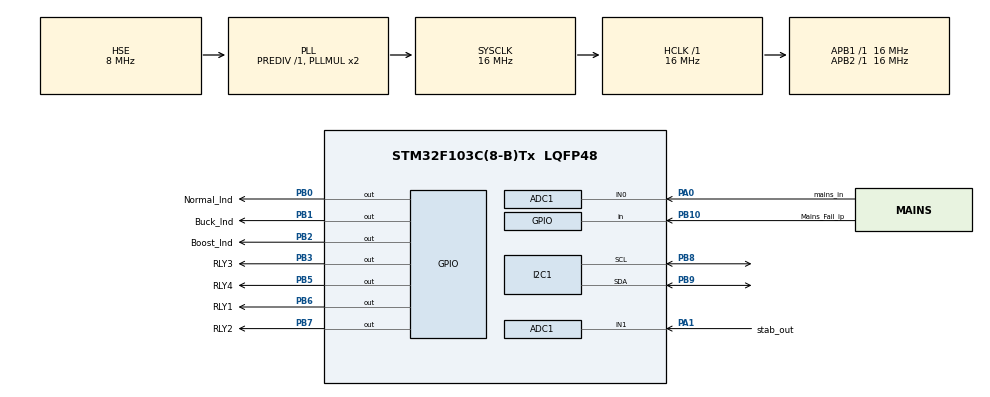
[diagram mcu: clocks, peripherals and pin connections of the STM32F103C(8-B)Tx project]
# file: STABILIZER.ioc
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ADC1.Channel-0\#ChannelRegularConversion=ADC_CHANNEL_0
ADC1.Channel-1\#ChannelRegularConversion=ADC_CHANNEL_1
ADC1.ContinuousConvMode=ENABLE
ADC1.InjNumberOfConversion=0
ADC1.NbrOfConversion=2
ADC1.NbrOfConversionFlag=1
ADC1.Rank-0\#ChannelRegularConversion=1
ADC1.Rank-1\#ChannelRegularConversion=2
ADC1.SamplingTime-0\#ChannelRegularConversion=ADC_SAMPLETIME_239CYCLES_5
ADC1.SamplingTime-1\#ChannelRegularConversion=ADC_SAMPLETIME_239CYCLES_5
ADC1.master=1
Dma.ADC1.0.Direction=DMA_PERIPH_TO_MEMORY
Dma.ADC1.0.Instance=DMA1_Channel1
Dma.ADC1.0.MemDataAlignment=DMA_MDATAALIGN_WORD
Dma.ADC1.0.MemInc=DMA_MINC_ENABLE
Dma.ADC1.0.Mode=DMA_CIRCULAR
Dma.ADC1.0.PeriphDataAlignment=DMA_PDATAALIGN_WORD
Dma.ADC1.0.PeriphInc=DMA_PINC_DISABLE
Dma.ADC1.0.Priority=DMA_PRIORITY_HIGH
Dma.Request0=ADC1
I2C1.I2C_Mode=I2C_Fast
Mcu.Family=STM32F1
Mcu.Name=STM32F103C(8-B)Tx
Mcu.Package=LQFP48
NVIC.DMA1_Channel1_IRQn=true\:0\:0\:false\:false\:true\:false\:true
NVIC.PriorityGroup=NVIC_PRIORITYGROUP_4
NVIC.TIM1_UP_IRQn=true\:0\:0\:false\:false\:true\:true\:true
PA0-WKUP.GPIO_Label=mains_in
PA0-WKUP.Signal=ADCx_IN0
PA1.GPIO_Label=stab_out
PA1.Signal=ADCx_IN1
PA13.Mode=Serial_Wire
PA13.Signal=SYS_JTMS-SWDIO
PA14.Mode=Serial_Wire
PA14.Signal=SYS_JTCK-SWCLK
PB0.GPIO_Label=Normal_Ind
PB0.Signal=GPIO_Output
PB1.GPIO_Label=Buck_Ind
PB1.Signal=GPIO_Output
PB10.GPIO_Label=Mains_Fail_ip
PB10.Signal=GPIO_Input
PB2.GPIO_Label=Boost_Ind
PB2.Signal=GPIO_Output
PB3.GPIO_Label=RLY3
PB3.Signal=GPIO_Output
PB5.GPIO_Label=RLY4
PB5.Signal=GPIO_Output
PB6.GPIO_Label=RLY1
PB6.Signal=GPIO_Output
PB7.GPIO_Label=RLY2
PB7.Signal=GPIO_Output
PB8.Mode=I2C
PB8.Signal=I2C1_SCL
PB9.Mode=I2C
PB9.Signal=I2C1_SDA
PC14-OSC32_IN.Mode=LSE-External-Oscillator
PC14-OSC32_IN.Signal=RCC_OSC32_IN
PC15-OSC32_OUT.Mode=LSE-External-Oscillator
PC15-OSC32_OUT.Signal=RCC_OSC32_OUT
PD0-OSC_IN.Mode=HSE-External-Oscillator
PD0-OSC_IN.Signal=RCC_OSC_IN
PD1-OSC_OUT.Mode=HSE-External-Oscillator
PD1-OSC_OUT.Signal=RCC_OSC_OUT
ProjectManager.HeapSize=0x200
ProjectManager.StackSize=0x400
ProjectManager.TargetToolchain=MDK-ARM V5
RCC.AHBFreq_Value=16000000
RCC.APB1Freq_Value=16000000
RCC.APB1TimFreq_Value=16000000
RCC.APB2Freq_Value=16000000
RCC.APB2TimFreq_Value=16000000
RCC.HCLKFreq_Value=16000000
RCC.PLLSourceVirtual=RCC_PLLSOURCE_HSE
RCC.SYSCLKFreq_VALUE=16000000
RCC.SYSCLKSource=RCC_SYSCLKSOURCE_PLLCLK
RCC.USBFreq_Value=16000000
SH.ADCx_IN0.0=ADC1_IN0,IN0
SH.ADCx_IN1.0=ADC1_IN1,IN1
TIM1.AutoReloadPreload=TIM_AUTORELOAD_PRELOAD_ENABLE
TIM1.Period=18000
TIM1.Prescaler=2
VP_TIM1_VS_ClockSourceINT.Mode=Internal
board=custom

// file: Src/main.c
/* USER CODE BEGIN Header */
/**
  ******************************************************************************
  * @file           : main.c
  * @brief          : Main program body
  ******************************************************************************
  * @attention
  *
  * <h2><center>&copy; Copyright (c) 2020 STMicroelectronics.
  * All rights reserved.</center></h2>
  *
  * This software component is licensed by ST under BSD 3-Clause license,
  * the "License"; You may not use this file except in compliance with the
  * License. You may obtain a copy of the License at:
  *                        opensource.org/licenses/BSD-3-Clause
  *
  ******************************************************************************
  */
/* USER CODE END Header */

#include "main.h"

/* USER CODE BEGIN Includes */
#include "Defines.h"
#include "i2c-lcd.h"
#include "string.h"
/* USER CODE END Includes */

/* USER CODE BEGIN PD */
#define Input_hi_limit1 280
#define Input_hi_limit2 270

#define Input_lo_limit1 170
#define Input_lo_limit2 180

#define RLY1_SET		HAL_GPIO_WritePin(RLY1_GPIO_Port, RLY1_Pin, GPIO_PIN_SET)
#define RLY1_RESET  HAL_GPIO_WritePin(RLY1_GPIO_Port, RLY1_Pin, GPIO_PIN_RESET)

#define RLY2_SET		HAL_GPIO_WritePin(RLY2_GPIO_Port, RLY2_Pin, GPIO_PIN_SET)
#define RLY2_RESET  HAL_GPIO_WritePin(RLY2_GPIO_Port, RLY2_Pin, GPIO_PIN_RESET)

#define RLY3_SET		HAL_GPIO_WritePin(RLY3_GPIO_Port, RLY3_Pin, GPIO_PIN_SET)
#define RLY3_RESET  HAL_GPIO_WritePin(RLY3_GPIO_Port, RLY3_Pin, GPIO_PIN_RESET)

#define RLY4_SET		HAL_GPIO_WritePin(RLY4_GPIO_Port, RLY4_Pin, GPIO_PIN_SET)
#define RLY4_RESET  HAL_GPIO_WritePin(RLY4_GPIO_Port, RLY4_Pin, GPIO_PIN_RESET)

#define Normal_Ind_SET      HAL_GPIO_WritePin(Normal_Ind_GPIO_Port, Normal_Ind_Pin, GPIO_PIN_SET)
#define Normal_Ind_RESET    HAL_GPIO_WritePin(Normal_Ind_GPIO_Port, Normal_Ind_Pin, GPIO_PIN_RESET)

#define Buck_Ind_SET        HAL_GPIO_WritePin(Buck_Ind_GPIO_Port, Buck_Ind_Pin, GPIO_PIN_SET)
#define Buck_Ind_RESET      HAL_GPIO_WritePin(Buck_Ind_GPIO_Port, Buck_Ind_Pin, GPIO_PIN_RESET)

#define Boost_Ind_SET       HAL_GPIO_WritePin(Boost_Ind_GPIO_Port, Boost_Ind_Pin, GPIO_PIN_SET)
#define Boost_Ind_RESET     HAL_GPIO_WritePin(Boost_Ind_GPIO_Port, Boost_Ind_Pin, GPIO_PIN_RESET)

/* USER CODE END PD */

ADC_HandleTypeDef hadc1;
DMA_HandleTypeDef hdma_adc1;

I2C_HandleTypeDef hi2c1;

TIM_HandleTypeDef htim1;

/* USER CODE BEGIN PV */
flags flg;
mains_status mainsstatus;
uint8_t ms_2_cnt, two_ms_count, ten_ms_cnt, fifty_ms_count, hundred_ms_count,sec_count,min_count,hr_count;
uint16_t mains_input,stab_output;
uint8_t mains_dly_cnt, mains_dly_on_cnt;
uint8_t intr_count, fast_mains_ok_cnt;
uint8_t Avr_normal_dly_cnt,Avr_buck_dly_cnt,Avr_boost_dly_cnt,RLY3_off_delay,Avr_normal_1_dly_cnt;
char Temp_bufr[6];
uint8_t four_digit,ind;
uint32_t ADC_BUFR[2];
uint32_t UPS_REC[2];
char DataBuffer[21];
char temp_b1[6];
char temp_b2[6];
uint8_t scale[16]={3,4,1,1,1,1,1,1,1,1,1,1,1,1,1};
/* USER CODE END PV */

void SystemClock_Config(void);
static void MX_GPIO_Init(void);
static void MX_DMA_Init(void);
static void MX_TIM1_Init(void);
static void MX_ADC1_Init(void);
static void MX_I2C1_Init(void);
/* USER CODE BEGIN PFP */
void check_mains_stages(void);
void check_mains(void);
void check_fast_mains(void);
void revu_analog(void);
void Display_refresh(void);
void ltoa(long num,char *string);
/* USER CODE END PFP */

/* USER CODE BEGIN 0 */
void HAL_ADC_ConvCpltCallback(ADC_HandleTypeDef* hadc)
{
		uint8_t k;
		for(uint8_t chn_num = 0; chn_num < 2; chn_num++)
		{
				//UPS_REC[i] = ADC_BUFR[i];
			k = scale[chn_num];
		if (k)
       UPS_REC[chn_num] = ADC_BUFR[chn_num] >> scale[chn_num];
    else
       UPS_REC[chn_num] = ADC_BUFR[chn_num];
       ADC_BUFR[chn_num] = 0;
		}
		mains_input = UPS_REC[0];
		stab_output = UPS_REC[1];
}
void check_mains_stages(void)
{
		if(boost_flag)
    {
			Boost_Ind_RESET;//ON
			Buck_Ind_SET;
			Normal_Ind_SET;
			RLY2_SET;
			RLY3_SET;
			RLY4_RESET;//ON
    }
		if(Normal_flag)
		{
			Boost_Ind_SET;
			Buck_Ind_SET;
			Normal_Ind_RESET;//ON
			RLY2_SET;
			RLY3_RESET;//ON
			RLY4_SET;
		}
		if(Normal_1_flag)
		{
			Boost_Ind_SET;
			Buck_Ind_SET;
			Normal_Ind_RESET;//ON
			RLY2_RESET;//ON
			RLY3_SET;
			RLY4_SET;
		}
		if (Buck_flag)
		{
			Boost_Ind_SET;
			Buck_Ind_RESET;//ON
			Normal_Ind_RESET;
			RLY2_SET;
			RLY3_SET;
			RLY4_SET;
		}
}
void check_mains(void)
{
		if((mains_input>Input_hi_limit1)||(mains_input<Input_lo_limit1))   //mains fail
    {
			mains_ok_flag = 0;
			mains_dly_cnt++;
			if (mains_dly_cnt > 5)
			{
				mains_dly_cnt = 0;
				RLY1_RESET;
        Mains_Fail1 = 1;
        mains_dly_on_cnt = 0;
			}
		}
		else if((mains_input < Input_hi_limit2)&&(mains_input > Input_lo_limit2))  //mains ok
    {
        mains_ok_flag = 1;
        mains_dly_on_cnt++;
			  if(mains_dly_on_cnt >= 5)
			  {
					mains_dly_on_cnt = 0;
					mains_dly_cnt = 0;
					Mains_Fail  = 0;
					mains_abnormal = 0;
					HAL_Delay(2);
					RLY1_RESET;
       }
		}
		if((!Mains_Fail))
    {
			 if((mains_input > 180) && (mains_input < 200))//180,208
			 {
				 Avr_buck_dly_cnt++;
				 if(Avr_buck_dly_cnt == 5)
				 {
					 Avr_buck_dly_cnt = 0;
					 boost_flag = 0;
					 Normal_flag = 0;
					 Buck_flag = 1;
           Normal_1_flag = 0;
				 }
			 }
			 if((mains_input > 202) && (mains_input < 220))//218,240
			 {
					Avr_normal_dly_cnt++;
					if(Avr_normal_dly_cnt == 5)
					{
             Avr_normal_dly_cnt = 0;
             Normal_flag = 0;
             Buck_flag = 0;
             boost_flag = 0;
             Normal_1_flag = 1;
					}
			 }
			 if((mains_input > 222) && (mains_input < 240))
			 {
				  Avr_normal_1_dly_cnt++;
				  if(Avr_normal_1_dly_cnt == 5)
				  {
             Avr_normal_1_dly_cnt = 0;
             Normal_1_flag = 0;
             Normal_flag = 1;
             Buck_flag = 0;
             boost_flag = 0;
				  }
	     }
			 if((mains_input > 242) &&  (mains_input < 270))//249,270
			 {
	        Avr_boost_dly_cnt++;
	        if(Avr_boost_dly_cnt==5)
	        {
             Avr_boost_dly_cnt=0;
             boost_flag =1;
             Buck_flag =0;
             Normal_flag =0;
             Normal_1_flag =0;
	        }
	     }
		}
		if(Mains_Fail1)
    {
				if(++RLY3_off_delay >= 35)
        {
            Mains_Fail = 1;
            RLY3_off_delay = 0;
            Mains_Fail1 = 0;
        }
    }
}
void check_fast_mains(void)
{
    if(!HAL_GPIO_ReadPin(Mains_Fail_ip_GPIO_Port, Mains_Fail_ip_Pin))
    {
        if(!Main_Fail_ip_Temp_Flag)
                Main_Fail_ip_Temp_Flag=1;
        else
        {
            IPAB = 1;
            fast_mains_fail = 1;
            fast_mains_ok_cnt = 0;
            Main_Fail_ip_Temp_Flag = 0;
        }
    }
    else
    {
         fast_mains_ok_cnt++;
         if(fast_mains_ok_cnt >= 10)
         {
             IPAB = 0;
             fast_mains_fail = 0;
             Main_Fail_ip_Temp_Flag = 0;
         }
    }
}
void revu_analog(void)
{

}
void Display_refresh(void)
{
	lcd_send_cmd (0x80);
	lcd_send_string("Mains i/p  Stab o/p ");
	memset(DataBuffer,' ',20);
	ltoa(mains_input,temp_b1);
	ltoa(stab_output,temp_b2);

	DataBuffer[3] = temp_b1[0];
	DataBuffer[4] = temp_b1[1];
	DataBuffer[5] = temp_b1[2];
	DataBuffer[6] = temp_b1[3];
	DataBuffer[7] = 'V';

	DataBuffer[13] = temp_b1[0];
	DataBuffer[14] = temp_b1[1];
	DataBuffer[15] = temp_b1[2];
	DataBuffer[16] = temp_b1[3];
	DataBuffer[17] = 'V';

	lcd_send_cmd (0xC0);
	lcd_send_string(DataBuffer);

	lcd_send_cmd (0x94);

	lcd_send_cmd (0xD4);

}
void ltoa(long num,char *string)
{
      four_digit = 1;
      ind = 0;

      while(num)
      {
          Temp_bufr[ind++] = ((num%10) + (0x30));
          num=num/10;
      }

      if(ind>=0 && ind<=3)
      {
          if((ind!=3) || (ind==3 && four_digit))
             *string++='0';

          if(ind==0)
          {
           *string++='0';
           *string++='0';

           if(four_digit)
                  *string++='0';

          }
          else if(ind==1)
          {
           *string++='0';

           if(four_digit)
                  *string++='0';
          }
          else if(ind==2)
          {
           if(four_digit)
                  *string++='0';
          }
      }

      while(ind)
	   	 *string++=Temp_bufr[--ind];

      *string=0x0;

}
/* USER CODE END 0 */

int main(void)
{

  /* MCU Configuration--------------------------------------------------------*/

  /* Reset of all peripherals, Initializes the Flash interface and the Systick. */
  HAL_Init();

  /* Configure the system clock */
  SystemClock_Config();

  /* Initialize all configured peripherals */
  MX_GPIO_Init();
  MX_DMA_Init();
  MX_TIM1_Init();
  MX_ADC1_Init();
  MX_I2C1_Init();
  /* USER CODE BEGIN 2 */
	lcd_init ();
	lcd_clear ();
	lcd_send_cmd (0x80);
	lcd_send_string(" Saumya controllers ");
	lcd_send_cmd (0xC0);
	lcd_send_string("   Mb: 9604861056   ");
	if(HAL_TIM_Base_Start_IT(&htim1) != HAL_OK)
	{
		Error_Handler();
	}
	HAL_ADC_Start_DMA(&hadc1, ADC_BUFR, 2);
  /* USER CODE END 2 */

  /* Infinite loop */
  while (1)
  {

    /* USER CODE BEGIN 3 */
			if(ten_ms_flag)
	    {
				 if(++ten_ms_cnt >= 10)
				 {
					  ten_ms_cnt=0;
					  hundred_ms_flag = 1;
				 }
		     ten_ms_flag = 0;
				 revu_analog();
				 //check_mains();
         //check_mains_stages();
	    }
			if(fifty_ms_flag)
			{
				 fifty_ms_flag = 0;
				 hundred_ms_count++;
				 check_mains();
         check_mains_stages();
			}
			if(hundred_ms_flag)
			{
				 if(hundred_ms_count >= 10)
				 {
					 hundred_ms_count = 0;
					 one_sec = 1;
				 }
				 hundred_ms_flag = 0;
			}
			if(one_sec)
			{
				 one_sec = 0;
			}
  }
  /* USER CODE END 3 */
}

void SystemClock_Config(void)
{
  RCC_OscInitTypeDef RCC_OscInitStruct = {0};
  RCC_ClkInitTypeDef RCC_ClkInitStruct = {0};
  RCC_PeriphCLKInitTypeDef PeriphClkInit = {0};

  /** Initializes the CPU, AHB and APB busses clocks
  */
  RCC_OscInitStruct.OscillatorType = RCC_OSCILLATORTYPE_HSE;
  RCC_OscInitStruct.HSEState = RCC_HSE_ON;
  RCC_OscInitStruct.HSEPredivValue = RCC_HSE_PREDIV_DIV1;
  RCC_OscInitStruct.HSIState = RCC_HSI_ON;
  RCC_OscInitStruct.PLL.PLLState = RCC_PLL_ON;
  RCC_OscInitStruct.PLL.PLLSource = RCC_PLLSOURCE_HSE;
  RCC_OscInitStruct.PLL.PLLMUL = RCC_PLL_MUL2;
  if (HAL_RCC_OscConfig(&RCC_OscInitStruct) != HAL_OK)
  {
    Error_Handler();
  }
  /** Initializes the CPU, AHB and APB busses clocks
  */
  RCC_ClkInitStruct.ClockType = RCC_CLOCKTYPE_HCLK|RCC_CLOCKTYPE_SYSCLK
                              |RCC_CLOCKTYPE_PCLK1|RCC_CLOCKTYPE_PCLK2;
  RCC_ClkInitStruct.SYSCLKSource = RCC_SYSCLKSOURCE_PLLCLK;
  RCC_ClkInitStruct.AHBCLKDivider = RCC_SYSCLK_DIV1;
  RCC_ClkInitStruct.APB1CLKDivider = RCC_HCLK_DIV1;
  RCC_ClkInitStruct.APB2CLKDivider = RCC_HCLK_DIV1;

  if (HAL_RCC_ClockConfig(&RCC_ClkInitStruct, FLASH_LATENCY_0) != HAL_OK)
  {
    Error_Handler();
  }
  PeriphClkInit.PeriphClockSelection = RCC_PERIPHCLK_ADC;
  PeriphClkInit.AdcClockSelection = RCC_ADCPCLK2_DIV2;
  if (HAL_RCCEx_PeriphCLKConfig(&PeriphClkInit) != HAL_OK)
  {
    Error_Handler();
  }
}

static void MX_ADC1_Init(void)
{

  ADC_ChannelConfTypeDef sConfig = {0};

  /** Common config
  */
  hadc1.Instance = ADC1;
  hadc1.Init.ScanConvMode = ADC_SCAN_ENABLE;
  hadc1.Init.ContinuousConvMode = ENABLE;
  hadc1.Init.DiscontinuousConvMode = DISABLE;
  hadc1.Init.ExternalTrigConv = ADC_SOFTWARE_START;
  hadc1.Init.DataAlign = ADC_DATAALIGN_RIGHT;
  hadc1.Init.NbrOfConversion = 2;
  if (HAL_ADC_Init(&hadc1) != HAL_OK)
  {
    Error_Handler();
  }
  /** Configure Regular Channel
  */
  sConfig.Channel = ADC_CHANNEL_0;
  sConfig.Rank = ADC_REGULAR_RANK_1;
  sConfig.SamplingTime = ADC_SAMPLETIME_239CYCLES_5;
  if (HAL_ADC_ConfigChannel(&hadc1, &sConfig) != HAL_OK)
  {
    Error_Handler();
  }
  /** Configure Regular Channel
  */
  sConfig.Channel = ADC_CHANNEL_1;
  sConfig.Rank = ADC_REGULAR_RANK_2;
  if (HAL_ADC_ConfigChannel(&hadc1, &sConfig) != HAL_OK)
  {
    Error_Handler();
  }

}

static void MX_I2C1_Init(void)
{

  hi2c1.Instance = I2C1;
  hi2c1.Init.ClockSpeed = 400000;
  hi2c1.Init.DutyCycle = I2C_DUTYCYCLE_2;
  hi2c1.Init.OwnAddress1 = 0;
  hi2c1.Init.AddressingMode = I2C_ADDRESSINGMODE_7BIT;
  hi2c1.Init.DualAddressMode = I2C_DUALADDRESS_DISABLE;
  hi2c1.Init.OwnAddress2 = 0;
  hi2c1.Init.GeneralCallMode = I2C_GENERALCALL_DISABLE;
  hi2c1.Init.NoStretchMode = I2C_NOSTRETCH_DISABLE;
  if (HAL_I2C_Init(&hi2c1) != HAL_OK)
  {
    Error_Handler();
  }

}

static void MX_TIM1_Init(void)
{

  TIM_ClockConfigTypeDef sClockSourceConfig = {0};
  TIM_MasterConfigTypeDef sMasterConfig = {0};

  htim1.Instance = TIM1;
  htim1.Init.Prescaler = 2;
  htim1.Init.CounterMode = TIM_COUNTERMODE_UP;
  htim1.Init.Period = 18000;
  htim1.Init.ClockDivision = TIM_CLOCKDIVISION_DIV1;
  htim1.Init.RepetitionCounter = 0;
  htim1.Init.AutoReloadPreload = TIM_AUTORELOAD_PRELOAD_ENABLE;
  if (HAL_TIM_Base_Init(&htim1) != HAL_OK)
  {
    Error_Handler();
  }
  sClockSourceConfig.ClockSource = TIM_CLOCKSOURCE_INTERNAL;
  if (HAL_TIM_ConfigClockSource(&htim1, &sClockSourceConfig) != HAL_OK)
  {
    Error_Handler();
  }
  sMasterConfig.MasterOutputTrigger = TIM_TRGO_RESET;
  sMasterConfig.MasterSlaveMode = TIM_MASTERSLAVEMODE_DISABLE;
  if (HAL_TIMEx_MasterConfigSynchronization(&htim1, &sMasterConfig) != HAL_OK)
  {
    Error_Handler();
  }

}

static void MX_DMA_Init(void)
{

  /* DMA controller clock enable */
  __HAL_RCC_DMA1_CLK_ENABLE();

  /* DMA interrupt init */
  /* DMA1_Channel1_IRQn interrupt configuration */
  HAL_NVIC_SetPriority(DMA1_Channel1_IRQn, 0, 0);
  HAL_NVIC_EnableIRQ(DMA1_Channel1_IRQn);

}

static void MX_GPIO_Init(void)
{
  GPIO_InitTypeDef GPIO_InitStruct = {0};

  /* GPIO Ports Clock Enable */
  __HAL_RCC_GPIOC_CLK_ENABLE();
  __HAL_RCC_GPIOD_CLK_ENABLE();
  __HAL_RCC_GPIOA_CLK_ENABLE();
  __HAL_RCC_GPIOB_CLK_ENABLE();

  /*Configure GPIO pin Output Level */
  HAL_GPIO_WritePin(GPIOB, Normal_Ind_Pin|Buck_Ind_Pin|Boost_Ind_Pin|RLY3_Pin
                          |RLY4_Pin|RLY1_Pin|RLY2_Pin, GPIO_PIN_RESET);

  /*Configure GPIO pins : Normal_Ind_Pin Buck_Ind_Pin Boost_Ind_Pin RLY3_Pin
                           RLY4_Pin RLY1_Pin RLY2_Pin */
  GPIO_InitStruct.Pin = Normal_Ind_Pin|Buck_Ind_Pin|Boost_Ind_Pin|RLY3_Pin
                          |RLY4_Pin|RLY1_Pin|RLY2_Pin;
  GPIO_InitStruct.Mode = GPIO_MODE_OUTPUT_PP;
  GPIO_InitStruct.Pull = GPIO_NOPULL;
  GPIO_InitStruct.Speed = GPIO_SPEED_FREQ_LOW;
  HAL_GPIO_Init(GPIOB, &GPIO_InitStruct);

  /*Configure GPIO pin : Mains_Fail_ip_Pin */
  GPIO_InitStruct.Pin = Mains_Fail_ip_Pin;
  GPIO_InitStruct.Mode = GPIO_MODE_INPUT;
  GPIO_InitStruct.Pull = GPIO_NOPULL;
  HAL_GPIO_Init(Mains_Fail_ip_GPIO_Port, &GPIO_InitStruct);

}

void Error_Handler(void)
{
}

/************************ (C) COPYRIGHT STMicroelectronics *****END OF FILE****/
